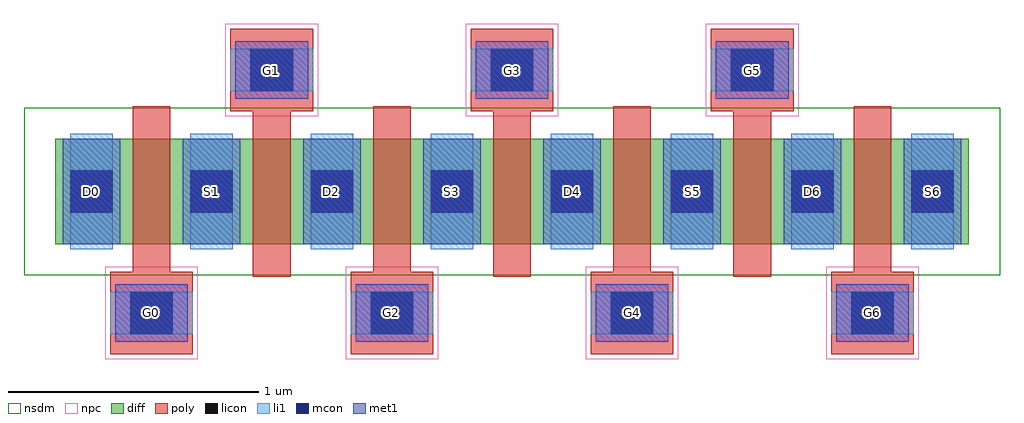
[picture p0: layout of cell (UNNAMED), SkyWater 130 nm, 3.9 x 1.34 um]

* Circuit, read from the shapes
.subckt (UNNAMED) D0 D2 D4 D6 G0 G1 G2 G3 G4 G5 G6 S1 S3 S5 S6
XM1 S1 G0 D0 VSUBS sky130_fd_pr__nfet_01v8 w=0.42 l=0.15
XM2 D2 G1 S1 VSUBS sky130_fd_pr__nfet_01v8 w=0.42 l=0.15
XM3 S3 G2 D2 VSUBS sky130_fd_pr__nfet_01v8 w=0.42 l=0.15
XM4 D4 G3 S3 VSUBS sky130_fd_pr__nfet_01v8 w=0.42 l=0.15
XM5 S5 G4 D4 VSUBS sky130_fd_pr__nfet_01v8 w=0.42 l=0.15
XM6 D6 G5 S5 VSUBS sky130_fd_pr__nfet_01v8 w=0.42 l=0.15
XM7 S6 G6 D6 VSUBS sky130_fd_pr__nfet_01v8 w=0.42 l=0.15
.ends

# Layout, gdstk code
import gdstk
lib = gdstk.Library(unit=1e-6, precision=1e-09)
def R(c, l, rs):  # rectangles x0, y0, x1, y1
    for r in rs: c.add(gdstk.rectangle(r[:2], r[2:], *l))
def A(c, l, x, y, w, h, nx, ny, dx, dy):  # array of equal rectangles
    R(c, l, [(x+i*dx, y+j*dy, x+i*dx+w, y+j*dy+h) for i in range(nx) for j in range(ny)])
diff = (65, 20)
poly = (66, 20)
licon = (66, 44)
li1 = (67, 20)
mcon = (67, 44)
met1 = (68, 20)
nsdm = (93, 44)
npc = (95, 20)

c__unnamed_ = lib.new_cell('(UNNAMED)')
R(c__unnamed_, diff, [(-1.825,-0.21,1.825,0.21)])
A(c__unnamed_, poly, -1.605, -0.65, 0.33, 0.33, 4, 1, 0.96, 0)
A(c__unnamed_, poly, -1.035, -0.34, 0.15, 0.66, 3, 1, 0.96, 0)
A(c__unnamed_, poly, -1.515, -0.32, 0.15, 0.66, 4, 1, 0.96, 0)
A(c__unnamed_, poly, -1.125, 0.32, 0.33, 0.33, 3, 1, 0.96, 0)
A(c__unnamed_, licon, -1.525, -0.57, 0.17, 0.17, 4, 1, 0.96, 0)
A(c__unnamed_, licon, -1.765, -0.085, 0.17, 0.17, 8, 1, 0.48, 0)
A(c__unnamed_, licon, -1.045, 0.4, 0.17, 0.17, 3, 1, 0.96, 0)
A(c__unnamed_, li1, -1.605, -0.57, 0.33, 0.17, 4, 1, 0.96, 0)
A(c__unnamed_, li1, -1.765, -0.23, 0.17, 0.46, 8, 1, 0.48, 0)
A(c__unnamed_, li1, -1.125, 0.4, 0.33, 0.17, 3, 1, 0.96, 0)
A(c__unnamed_, mcon, -1.525, -0.57, 0.17, 0.17, 4, 1, 0.96, 0)
A(c__unnamed_, mcon, -1.765, -0.085, 0.17, 0.17, 8, 1, 0.48, 0)
A(c__unnamed_, mcon, -1.045, 0.4, 0.17, 0.17, 3, 1, 0.96, 0)
A(c__unnamed_, met1, -1.585, -0.6, 0.29, 0.23, 4, 1, 0.96, 0)
A(c__unnamed_, met1, -1.795, -0.21, 0.23, 0.42, 8, 1, 0.48, 0)
A(c__unnamed_, met1, -1.105, 0.37, 0.29, 0.23, 3, 1, 0.96, 0)
R(c__unnamed_, nsdm, [(-1.95,-0.335,1.95,0.335)])
A(c__unnamed_, npc, -1.625, -0.67, 0.37, 0.37, 4, 1, 0.96, 0)
A(c__unnamed_, npc, -1.145, 0.3, 0.37, 0.37, 3, 1, 0.96, 0)
c__unnamed_.add(gdstk.Label('D0', (-1.68,0), layer=67, texttype=5))
c__unnamed_.add(gdstk.Label('G0', (-1.44,-0.485), layer=67, texttype=5))
c__unnamed_.add(gdstk.Label('S1', (-1.2,0), layer=67, texttype=5))
c__unnamed_.add(gdstk.Label('G1', (-0.96,0.485), layer=67, texttype=5))
c__unnamed_.add(gdstk.Label('D2', (-0.72,0), layer=67, texttype=5))
c__unnamed_.add(gdstk.Label('G2', (-0.48,-0.485), layer=67, texttype=5))
c__unnamed_.add(gdstk.Label('S3', (-0.24,0), layer=67, texttype=5))
c__unnamed_.add(gdstk.Label('G3', (0,0.485), layer=67, texttype=5))
c__unnamed_.add(gdstk.Label('D4', (0.24,0), layer=67, texttype=5))
c__unnamed_.add(gdstk.Label('G4', (0.48,-0.485), layer=67, texttype=5))
c__unnamed_.add(gdstk.Label('S5', (0.72,0), layer=67, texttype=5))
c__unnamed_.add(gdstk.Label('G5', (0.96,0.485), layer=67, texttype=5))
c__unnamed_.add(gdstk.Label('D6', (1.2,0), layer=67, texttype=5))
c__unnamed_.add(gdstk.Label('S6', (1.68,0), layer=67, texttype=5))
c__unnamed_.add(gdstk.Label('G6', (1.44,-0.485), layer=67, texttype=5))

lib.write_gds('_UNNAMED_.gds')
